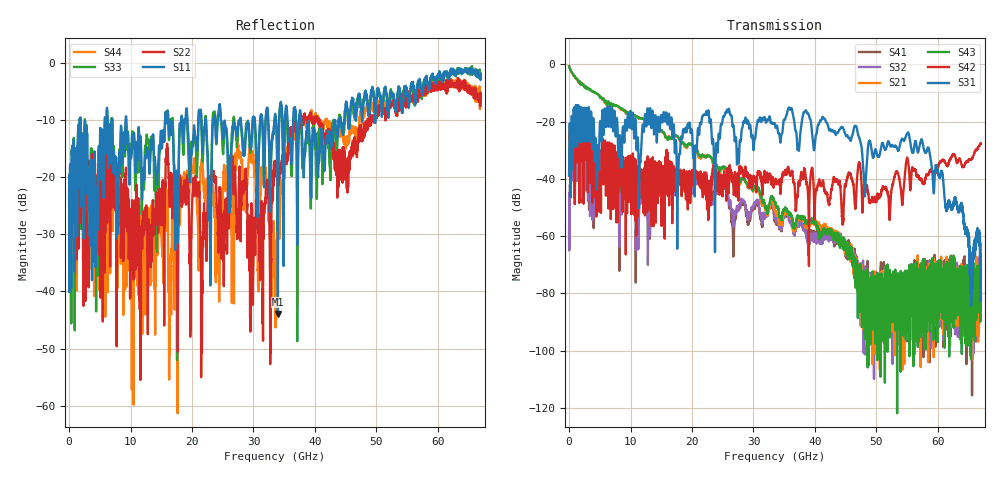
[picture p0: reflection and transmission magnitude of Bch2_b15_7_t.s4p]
!Agilent Technologies,N5247A,US51170199,A.09.90.13
!Agilent N5247A: A.09.90.13
!Date: Tuesday, October 23, 2018 10:51:59
!Correction: S11(Full 4 Port(1,2,3,4))
!S12(Full 4 Port(1,2,3,4))
!S13(Full 4 Port(1,2,3,4))
!S14(Full 4 Port(1,2,3,4))
!S21(Full 4 Port(1,2,3,4))
!S22(Full 4 Port(1,2,3,4))
!S23(Full 4 Port(1,2,3,4))
!S24(Full 4 Port(1,2,3,4))
!S31(Full 4 Port(1,2,3,4))
!S32(Full 4 Port(1,2,3,4))
!S33(Full 4 Port(1,2,3,4))
!S34(Full 4 Port(1,2,3,4))
!S41(Full 4 Port(1,2,3,4))
!S42(Full 4 Port(1,2,3,4))
!S43(Full 4 Port(1,2,3,4))
!S44(Full 4 Port(1,2,3,4))
!S4P File: Measurements: <S11,S12,S13,S14>,
!<S21,S22,S23,S24>,
!<S31,S32,S33,S34>,
!<S41,S42,S43,S44>:
# Hz S  dB  R 50
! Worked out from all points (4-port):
!   6701 points, 10 MHz to 67 GHz, reference 50 ohm
!   strongest paths, dB at 10 MHz, 16.76 GHz, 33.51 GHz, 50.25 GHz, 67 GHz:
!     S31: -38.7, -23.1, -21.1, -32.1, -71.7
!     S42: -38.9, -38.9, -41.4, -46.1, -27.6
!     S43: -0.7, -25.9, -48.6, -88.4, -74.5
!     S21: -0.7, -25.5, -51.0, -76.6, -81.3
!     S32: -58.2, -45.2, -53.8, -82.9, -73.2
!     S41: -58.0, -46.0, -54.8, -80.8, -82.3
!   lowest |S11| = -44.0 dB at 33.97 GHz (marker M1), VSWR 1.01, Z = 50.6 - j0.194 ohm
!   |S11| at or under -10 dB: 1.854 GHz to 5.804 GHz (3.95 GHz wide, 103 % of centre); 9.304 GHz to 15.62 GHz (6.317 GHz wide, 50.7 % of centre); 37.79 GHz to 43.93 GHz (6.148 GHz wide, 15 % of centre)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
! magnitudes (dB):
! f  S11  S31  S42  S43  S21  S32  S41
! 10 MHz  -23.1  -38.7  -38.9  -0.7  -0.7  -58.2  -58.0
! 5.999 GHz  -15.6  -21.3  -45.9  -12.7  -12.8  -35.0  -36.0
! 11.15 GHz  -17.1  -25.5  -40.5  -18.3  -18.3  -51.5  -51.4
! 14.72 GHz  -14.8  -23.7  -37.0  -22.5  -22.5  -35.8  -36.1
! 33.97 GHz  -44.0  -23.4  -41.4  -49.8  -52.7  -53.4  -54.3
! 57.36 GHz  -5.0  -26.3  -40.5  -84.2  -79.9  -88.2  -76.4
! 67 GHz  -1.9  -71.7  -27.6  -74.5  -81.3  -73.2  -82.3
